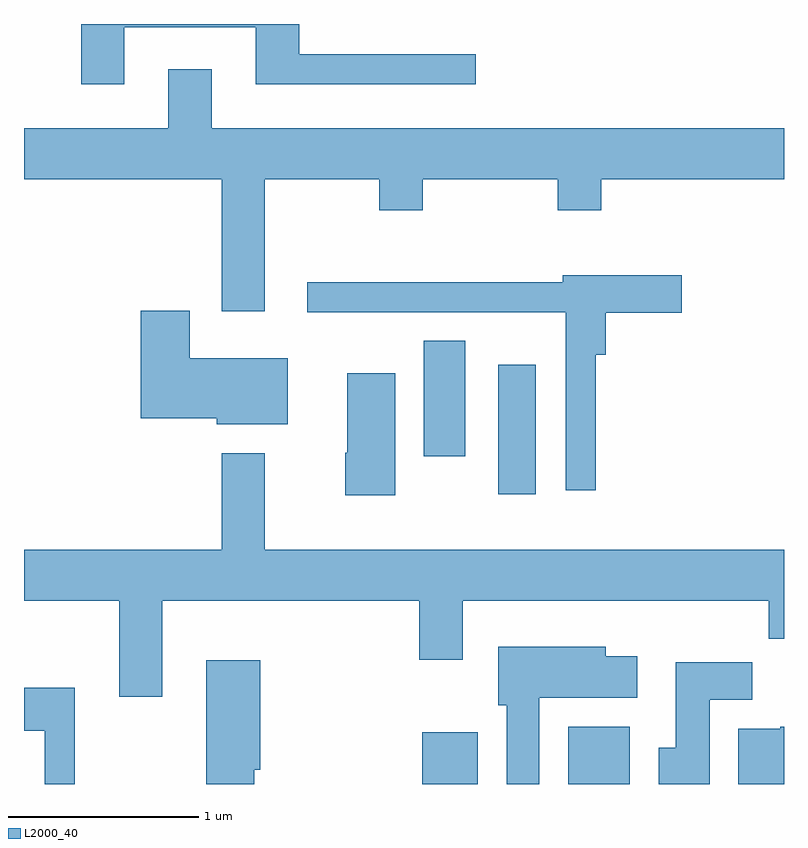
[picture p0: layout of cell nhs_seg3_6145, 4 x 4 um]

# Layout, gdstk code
import gdstk
lib = gdstk.Library(unit=1e-6, precision=1e-09)
def R(c, l, rs):  # rectangles x0, y0, x1, y1
    for r in rs: c.add(gdstk.rectangle(r[:2], r[2:], *l))
def P(c, l, *ps):  # polygons
    for p in ps: c.add(gdstk.Polygon(p, *l))
L2000_40 = (2000, 40)

nhs_seg3_6145 = lib.new_cell('nhs_seg3_6145')
R(nhs_seg3_6145, L2000_40, [(367.706,1173.892,367.999,1174.164), (368.476,1173.892,368.799,1174.194), (368.106,1175.416,368.304,1176.099), (367.716,1175.616,367.934,1176.224)])
P(nhs_seg3_6145, L2000_40, [(366.139,1177.876),(366.831,1177.876),(366.831,1177.576),(367.988,1177.576),(367.988,1177.734),(367.059,1177.734),(367.059,1177.892),(365.911,1177.892),(365.911,1177.576),(366.139,1177.576)],
  [(366.879,1177.076),(367.481,1177.076),(367.481,1176.911),(367.709,1176.911),(367.709,1177.076),(368.421,1177.076),(368.421,1176.911),(368.649,1176.911),(368.649,1177.076),(369.611,1177.076),(369.611,1177.344),(366.599,1177.344),(366.599,1177.654),(366.371,1177.654),(366.371,1177.344),(365.611,1177.344),(365.611,1177.076),(366.651,1177.076),(366.651,1176.381),(366.879,1176.381)],
  [(368.619,1176.151),(368.674,1176.151),(368.674,1176.371),(369.074,1176.371),(369.074,1176.569),(368.446,1176.569),(368.446,1176.534),(367.103,1176.534),(367.103,1176.376),(368.461,1176.376),(368.461,1175.438),(368.619,1175.438)],
  [(366.999,1176.134),(366.484,1176.134),(366.484,1176.384),(366.226,1176.384),(366.226,1175.816),(366.626,1175.816),(366.626,1175.786),(366.999,1175.786)],
  [(367.564,1176.054),(367.311,1176.054),(367.311,1175.635),(367.301,1175.635),(367.301,1175.411),(367.564,1175.411)],
  [(366.339,1174.856),(367.691,1174.856),(367.691,1174.546),(367.919,1174.546),(367.919,1174.856),(369.531,1174.856),(369.531,1174.656),(369.611,1174.656),(369.611,1175.124),(366.879,1175.124),(366.879,1175.634),(366.651,1175.634),(366.651,1175.124),(365.611,1175.124),(365.611,1174.856),(366.111,1174.856),(366.111,1174.351),(366.339,1174.351)],
  [(368.324,1174.346),(368.839,1174.346),(368.839,1174.564),(368.674,1174.564),(368.674,1174.614),(368.106,1174.614),(368.106,1174.306),(368.151,1174.306),(368.151,1173.892),(368.324,1173.892)],
  [(366.824,1173.966),(366.854,1173.966),(366.854,1174.544),(366.571,1174.544),(366.571,1173.892),(366.824,1173.892)],
  [(369.219,1174.336),(369.444,1174.336),(369.444,1174.534),(369.041,1174.534),(369.041,1174.084),(368.951,1174.084),(368.951,1173.892),(369.219,1173.892)],
  [(365.879,1174.399),(365.611,1174.399),(365.611,1174.171),(365.721,1174.171),(365.721,1173.892),(365.879,1173.892)],
  [(369.611,1174.194),(369.59,1174.194),(369.59,1174.184),(369.371,1174.184),(369.371,1173.892),(369.611,1173.892)])

lib.write_gds('nhs_seg3_6145.gds')
